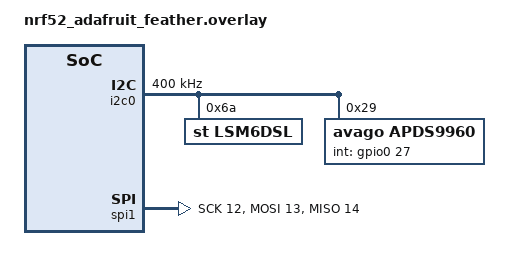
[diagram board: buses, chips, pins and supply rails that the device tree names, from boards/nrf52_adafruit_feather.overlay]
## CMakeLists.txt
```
cmake_minimum_required(VERSION 3.8.2)

set(BOARD nrf52_adafruit_feather)

# DTC overlays are per-board; each board must define a boards/$BOARD.overlay.
if(EXISTS ${CMAKE_CURRENT_SOURCE_DIR}/boards/${BOARD}.overlay)
  set(DTC_OVERLAY_FILE ${CMAKE_CURRENT_SOURCE_DIR}/boards/${BOARD}.overlay)
endif()

include($ENV{ZEPHYR_BASE}/cmake/app/boilerplate.cmake NO_POLICY_SCOPE)
project(bt_controller)

FILE(GLOB app_sources src/*.c)
target_sources(app PRIVATE 
  ${app_sources}
  $ENV{ZEPHYR_BASE}/samples/bluetooth/gatt/bas.c
  $ENV{ZEPHYR_BASE}/samples/bluetooth/gatt/dis.c
  $ENV{ZEPHYR_BASE}/samples/bluetooth/gatt/hog.c
)

zephyr_link_libraries_ifdef(CONFIG_FILE_SYSTEM_NFFS NFFS)

zephyr_library_include_directories($ENV{ZEPHYR_BASE}/samples/bluetooth)
```

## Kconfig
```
mainmenu "BT controller application"

menu "Application configuration"

module = MAIN_MODULE
module-str = Main module
source "subsys/logging/Kconfig.template.log_config"

module = IMU_MODULE
module-str = IMU module
source "subsys/logging/Kconfig.template.log_config"

module = BT_MODULE
module-str = BT module
source "subsys/logging/Kconfig.template.log_config"

endmenu

source "Kconfig.zephyr"
```

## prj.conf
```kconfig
# General Kernel Options
CONFIG_SYSTEM_WORKQUEUE_STACK_SIZE=4096
CONFIG_HEAP_MEM_POOL_SIZE=16384
#CONFIG_SMP=y

# Device Drivers
CONFIG_GPIO_SHELL=y
#CONFIG_GPIO_SEESAW=y

CONFIG_SPI=y
CONFIG_SPI_ASYNC=y
CONFIG_SPI_NRFX=y
#CONFIG_SPI_NRFX_RAM_BUFFER_SIZE=8
CONFIG_SPI_1=y
#CONFIG_SPI_1_NRF_SPIM=y
#CONFIG_SPI_1_NRF_RX_DELAY=1

CONFIG_I2C=y
CONFIG_I2C_NRFX=y
CONFIG_I2C_0=y

CONFIG_FLASH=y
CONFIG_FLASH_PAGE_LAYOUT=y

CONFIG_SENSOR=y
CONFIG_APDS9960=y
CONFIG_LSM6DSL=y
#CONFIG_LSM6DSL_SPI=y

# Bluetooth
CONFIG_BT_DEBUG_LOG=y
CONFIG_BT_PERIPHERAL=y
CONFIG_BT_DEVICE_NAME="IMU HoG mouse"
CONFIG_BT_DEVICE_APPEARANCE=962
CONFIG_BT_SMP=y
#CONFIG_BT_SHELL=y
CONFIG_BT_SETTINGS=y

# Debugging Options
CONFIG_TRACING=y
CONFIG_STACK_USAGE=y
#CONFIG_ASSERT=y
CONFIG_SEGGER_SYSTEMVIEW=y
CONFIG_RTT_CONSOLE=y

# File Systems
CONFIG_FCB=y

# Logging Options
CONFIG_LOG=y
CONFIG_LOG_RUNTIME_FILTERING=y
CONFIG_LOG_PRINTK=y

# Shell Options
CONFIG_SHELL=y
#CONFIG_KERNEL_SHELL=y
#CONFIG_DEVICE_SHELL=y

# Storage 
CONFIG_FLASH_MAP=y
CONFIG_SETTINGS=y
CONFIG_SETTINGS_FCB=y
```

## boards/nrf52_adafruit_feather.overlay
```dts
&i2c0 {
	status ="ok";
	clock-frequency = <I2C_BITRATE_FAST>;

	lsm6dsl@6a {
		compatible = "st,lsm6dsl";
		reg = <0x6a>;
		label = "LSM6DSL";
	};

	apds9960@29 {
		compatible = "avago,apds9960";
		reg = <0x29>;
		label = "APDS9960";
		int-gpios = <&gpio0 27 0>;
	};
};

&spi1 {
	status = "ok";
	sck-pin = <12>;
	mosi-pin = <13>;
	miso-pin = <14>;
	cs-gpios = <&gpio0 29 0>;
	/*
    	lsm6dsl@0 {
		compatible = "st,lsm6dsl-spi";
		reg = <0>;
		spi-max-frequency = <1000000>;
		irq-gpios = <&gpio0 28 0>;
		label = "LSM6DSL_SPI";
	};*/
};
```

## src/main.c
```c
#include <zephyr.h>
#include <device.h>
#include <gpio.h>
#include <sensor.h>

#include <logging/log.h>
#define LOG_MODULE_NAME main_module
#define LOG_LEVEL CONFIG_MAIN_MODULE_LOG_LEVEL
LOG_MODULE_REGISTER(LOG_MODULE_NAME);

struct k_delayed_work led_timer;

enum periph_device {
	DEV_IDX_LED0 = 0,
	DEV_IDX_LED1,
	DEV_IDX_BUTTON,
	DEV_IDX_APDS9960,
	DEV_IDX_NUMOF,
};

struct periph_device_info {
	struct device *dev;
	char *name;
};

static struct periph_device_info dev_info[] = {
	{NULL, LED0_GPIO_CONTROLLER},
	{NULL, LED1_GPIO_CONTROLLER},
	{NULL, SW0_GPIO_CONTROLLER},
	{NULL, CONFIG_APDS9960_DRV_NAME},
};

static void button_pressed(struct device *gpiob, struct gpio_callback *cb,
			   u32_t pins)
{
	LOG_DBG("Button pressed at %d", k_cycle_get_32());
}

static struct gpio_callback gpio_cb;

static int get_apds9960_val(struct sensor_value *val)
{
	if (sensor_sample_fetch(dev_info[DEV_IDX_APDS9960].dev)) {
		LOG_ERR("Failed to fetch sample for device %s",
		       dev_info[DEV_IDX_APDS9960].name);
		return -1;
	}
 	if (sensor_channel_get(dev_info[DEV_IDX_APDS9960].dev,
			       SENSOR_CHAN_LIGHT,
			       &val[0])) {
		return -1;
	}
 	if (sensor_channel_get(dev_info[DEV_IDX_APDS9960].dev,
			       SENSOR_CHAN_PROX,
			       &val[1])) {
		return -1;
	}
 	LOG_DBG("ambient light intensity: %d, proximity %d",
	       val[0].val1, val[1].val1);
 	return 0;
}

static void led_timeout(struct k_work *work)
{
        static int led_cntr;
        u32_t led_interval = K_MSEC(100);

        gpio_pin_write(dev_info[DEV_IDX_LED0].dev, LED0_GPIO_PIN, 1);
	gpio_pin_write(dev_info[DEV_IDX_LED1].dev, LED1_GPIO_PIN, 1);

        if (led_cntr == 0) {
		gpio_pin_write(dev_info[DEV_IDX_LED0].dev,
			       LED0_GPIO_PIN, 0);
		led_cntr += 1;
	} else if (led_cntr == 1) {
		gpio_pin_write(dev_info[DEV_IDX_LED1].dev,
			       LED1_GPIO_PIN, 0);
		led_cntr += 1;
	} else if (led_cntr == 2) {
		led_cntr = 0;
		led_interval = K_MSEC(5000);
	}

        k_delayed_work_submit(&led_timer, led_interval);
}

void main(void)
{
        struct sensor_value val[3];
        unsigned int i;
    
        LOG_INF("*** IMU Controller ***");

        for (i = 0; i < ARRAY_SIZE(dev_info); i++) {
                dev_info[i].dev = device_get_binding(dev_info[i].name);
                if (dev_info[i].dev == NULL) {
                        LOG_ERR("Failed to get %s device", dev_info[i].name);
                        return;
                }
        }

	gpio_pin_configure(dev_info[DEV_IDX_LED0].dev, LED0_GPIO_PIN,
			   GPIO_DIR_OUT);
	gpio_pin_write(dev_info[DEV_IDX_LED0].dev, LED0_GPIO_PIN, 1);

 	gpio_pin_configure(dev_info[DEV_IDX_LED1].dev, LED1_GPIO_PIN,
			   GPIO_DIR_OUT);
	gpio_pin_write(dev_info[DEV_IDX_LED1].dev, LED1_GPIO_PIN, 1);

 	gpio_pin_configure(dev_info[DEV_IDX_BUTTON].dev, SW0_GPIO_PIN,
			   GPIO_DIR_IN | GPIO_INT |  SW0_GPIO_FLAGS |
			   GPIO_INT_EDGE | GPIO_INT_ACTIVE_LOW);

 	gpio_init_callback(&gpio_cb, button_pressed, BIT(SW0_GPIO_PIN));
	gpio_add_callback(dev_info[DEV_IDX_BUTTON].dev, &gpio_cb);
	gpio_pin_enable_callback(dev_info[DEV_IDX_BUTTON].dev, SW0_GPIO_PIN);

        k_delayed_work_init(&led_timer, led_timeout);
	k_delayed_work_submit(&led_timer, K_MSEC(100));

        while (1) {
		if (get_apds9960_val(val)) {
			goto _error_get;
		}

		k_sleep(K_SECONDS(1));
	}

_error_get:
	LOG_ERR("Failed to get sensor data or print a string");
}
```

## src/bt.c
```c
#include <zephyr/types.h>
#include <stddef.h>
#include <string.h>
#include <errno.h>
#include <misc/byteorder.h>
#include <zephyr.h>

#include <settings/settings.h>

#include <bluetooth/bluetooth.h>
#include <bluetooth/hci.h>
#include <bluetooth/conn.h>
#include <bluetooth/uuid.h>
#include <bluetooth/gatt.h>

#include <gatt/dis.h>
#include <gatt/bas.h>
#include <gatt/hog.h>

#include <logging/log.h>
#define LOG_MODULE_NAME bt_module
#define LOG_LEVEL CONFIG_BT_MODULE_LOG_LEVEL
LOG_MODULE_REGISTER(LOG_MODULE_NAME);

#define BT_STACK_SIZE   2048
#define BT_PRIORITY     K_PRIO_COOP(7)

static const struct bt_data ad[] = {
	BT_DATA_BYTES(BT_DATA_FLAGS, (BT_LE_AD_GENERAL | BT_LE_AD_NO_BREDR)),
	BT_DATA_BYTES(BT_DATA_UUID16_ALL,
		      0x12, 0x18, /* HID Service */
		      0x0f, 0x18), /* Battery Service */
};

static void connected(struct bt_conn *conn, u8_t err)
{
	char addr[BT_ADDR_LE_STR_LEN];

	bt_addr_le_to_str(bt_conn_get_dst(conn), addr, sizeof(addr));

	if (err) {
		LOG_ERR("Failed to connect to %s (%u)", addr, err);
		return;
	}

	LOG_INF("Connected %s\n", addr);

	if (bt_conn_security(conn, BT_SECURITY_MEDIUM)) {
		LOG_ERR("Failed to set security");
	}
}

static void disconnected(struct bt_conn *conn, u8_t reason)
{
	char addr[BT_ADDR_LE_STR_LEN];

	bt_addr_le_to_str(bt_conn_get_dst(conn), addr, sizeof(addr));

	LOG_INF("Disconnected from %s (reason %u)", addr, reason);
}

static void security_changed(struct bt_conn *conn, bt_security_t level)
{
	char addr[BT_ADDR_LE_STR_LEN];

	bt_addr_le_to_str(bt_conn_get_dst(conn), addr, sizeof(addr));

	LOG_INF("Security changed: %s level %u", addr, level);
}

static struct bt_conn_cb conn_callbacks = {
	.connected = connected,
	.disconnected = disconnected,
	.security_changed = security_changed,
};

static void bt_ready(int err)
{
	if (err) {
		LOG_ERR("Bluetooth init failed (err %d)", err);
		return;
	}

	LOG_INF("Bluetooth initialised");

	bas_init();
	dis_init(CONFIG_SOC, "Oxsight");
	hog_init();

	if (IS_ENABLED(CONFIG_SETTINGS)) {
		settings_load();
	}

	err = bt_le_adv_start(BT_LE_ADV_CONN_NAME, ad, ARRAY_SIZE(ad), NULL, 0);
	if (err) {
		LOG_ERR("Advertising failed to start (err %d)", err);
		return;
	}

	LOG_INF("Advertising successfully started");
}

static void auth_passkey_display(struct bt_conn *conn, unsigned int passkey)
{
	char addr[BT_ADDR_LE_STR_LEN];

	bt_addr_le_to_str(bt_conn_get_dst(conn), addr, sizeof(addr));

	LOG_INF("Passkey for %s: %06u", addr, passkey);
}

static void auth_cancel(struct bt_conn *conn)
{
	char addr[BT_ADDR_LE_STR_LEN];

	bt_addr_le_to_str(bt_conn_get_dst(conn), addr, sizeof(addr));

	LOG_WRN("Pairing cancelled: %s", addr);
}

static struct bt_conn_auth_cb auth_cb_display = {
	.passkey_display = auth_passkey_display,
	.passkey_entry = NULL,
	.cancel = auth_cancel,
};

void bt_thread(void)
{
        int err;

        LOG_INF("Bluetooth task started");

        err = bt_enable(bt_ready);
        if (err) {
		LOG_ERR("Bluetooth init failed (err %d)", err);
		return;
	}

	bt_conn_cb_register(&conn_callbacks);
        bt_conn_auth_cb_register(&auth_cb_display);
}

K_THREAD_DEFINE(bt_id, BT_STACK_SIZE, bt_thread, NULL, NULL, NULL,
		BT_PRIORITY, 0, K_NO_WAIT);
```

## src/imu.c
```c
#include <zephyr.h>
#include <board.h>
#include <sensor.h>

#include <logging/log.h>
#define LOG_MODULE_NAME imu_module
#define LOG_LEVEL CONFIG_IMU_MODULE_LOG_LEVEL
LOG_MODULE_REGISTER(LOG_MODULE_NAME);

#define IMU_STACK_SIZE 1024
#define IMU_PRIORITY 7

static inline float out_ev(struct sensor_value *val)
{
	return (val->val1 + (float)val->val2 / 1000000);
}

#ifdef CONFIG_LSM6DSL_TRIGGER
static void lsm6dsl_trigger_handler(struct device *dev,
				    struct sensor_trigger *trig)
{
        struct sensor_value accel_x, accel_y, accel_z;
	struct sensor_value gyro_x, gyro_y, gyro_z;

        sensor_sample_fetch_chan(dev, SENSOR_CHAN_ACCEL_XYZ);
	sensor_channel_get(dev, SENSOR_CHAN_ACCEL_X, &accel_x);
	sensor_channel_get(dev, SENSOR_CHAN_ACCEL_Y, &accel_y);
	sensor_channel_get(dev, SENSOR_CHAN_ACCEL_Z, &accel_z);

        sensor_sample_fetch_chan(dev, SENSOR_CHAN_GYRO_XYZ);
	sensor_channel_get(dev, SENSOR_CHAN_GYRO_X, &gyro_x);
	sensor_channel_get(dev, SENSOR_CHAN_GYRO_Y, &gyro_y);
	sensor_channel_get(dev, SENSOR_CHAN_GYRO_Z, &gyro_z);

        LOG_DBG("TRIG");
}
#endif

void imu_thread(void)
{
        static struct device *imu;

        LOG_INF("IMU Task Started");

	imu = device_get_binding(CONFIG_LSM6DSL_DEV_NAME);
	if (!imu) {
		LOG_ERR("Could not get pointer to %s sensor", CONFIG_LSM6DSL_DEV_NAME);
		return;
	};

#if defined(CONFIG_LSM6DSL_ACCEL_ODR) && (CONFIG_LSM6DSL_ACCEL_ODR == 0)
	struct sensor_value a_odr_attr;

	/* set sampling frequency to 104Hz for accel */
	a_odr_attr.val1 = 104;
	a_odr_attr.val2 = 0;

	if (sensor_attr_set(imu, SENSOR_CHAN_ACCEL_XYZ,
			    SENSOR_ATTR_SAMPLING_FREQUENCY, &a_odr_attr) < 0) {
		LOG_ERR("Cannot set sampling frequency for accelerometer.");
		return;
	}
#endif

#if defined(CONFIG_LSM6DSL_ACCEL_FS) && (CONFIG_LSM6DSL_ACCEL_FS == 0)
	struct sensor_value a_fs_attr;

	/* set full scale to 16g for accel */
	sensor_g_to_ms2(16, &a_fs_attr);

	if (sensor_attr_set(imu, SENSOR_CHAN_ACCEL_XYZ,
			    SENSOR_ATTR_FULL_SCALE, &a_fs_attr) < 0) {
		LOG_ERR("Cannot set fs for accelerometer.");
		return;
	}
#endif

#if defined(CONFIG_LSM6DSL_GYRO_ODR) && (CONFIG_LSM6DSL_GYRO_ODR == 0)
	struct sensor_value g_odr_attr;

	/* set sampling frequency to 104Hz for accel */
	g_odr_attr.val1 = 104;
	g_odr_attr.val2 = 0;

	if (sensor_attr_set(imu, SENSOR_CHAN_GYRO_XYZ,
			    SENSOR_ATTR_SAMPLING_FREQUENCY, &g_odr_attr) < 0) {
		LOG_ERR("Cannot set sampling frequency for gyro.");
		return;
	}
#endif

#if defined(CONFIG_LSM6DSL_GYRO_FS) && (CONFIG_LSM6DSL_GYRO_FS == 0)
	struct sensor_value g_fs_attr;

	/* set full scale to 245dps for accel */
	sensor_g_to_ms2(245, &g_fs_attr);

	if (sensor_attr_set(imu, SENSOR_CHAN_GYRO_XYZ,
			    SENSOR_ATTR_FULL_SCALE, &g_fs_attr) < 0) {
		LOG_ERR("Cannot set fs for gyroscope.");
		return;
	}
#endif

#ifdef CONFIG_LSM6DSL_TRIGGER
	struct sensor_trigger trig;

	trig.type = SENSOR_TRIG_DATA_READY;
	trig.chan = SENSOR_CHAN_ACCEL_XYZ;
	sensor_trigger_set(imu, &trig, lsm6dsl_trigger_handler);
#endif

    while (1) {
        struct sensor_value accel_x, accel_y, accel_z;
        struct sensor_value gyro_x, gyro_y, gyro_z;

        /* lsm6dsl accel */
        sensor_sample_fetch_chan(imu, SENSOR_CHAN_ACCEL_XYZ);
        sensor_channel_get(imu, SENSOR_CHAN_ACCEL_X, &accel_x);
        sensor_channel_get(imu, SENSOR_CHAN_ACCEL_Y, &accel_y);
        sensor_channel_get(imu, SENSOR_CHAN_ACCEL_Z, &accel_z);
        

        /* lsm6dsl gyro */
        sensor_sample_fetch_chan(imu, SENSOR_CHAN_GYRO_XYZ);
        sensor_channel_get(imu, SENSOR_CHAN_GYRO_X, &gyro_x);
        sensor_channel_get(imu, SENSOR_CHAN_GYRO_Y, &gyro_y);
        sensor_channel_get(imu, SENSOR_CHAN_GYRO_Z, &gyro_z);
        LOG_INF("accel (%f %f %f) m/s2 gyro (%f %f %f) dps", 
                out_ev(&accel_x), out_ev(&accel_y), out_ev(&accel_z),
                out_ev(&gyro_x), out_ev(&gyro_y), out_ev(&gyro_z));

        k_sleep(2000);
    }
}

K_THREAD_DEFINE(imu_id, IMU_STACK_SIZE, imu_thread, NULL, NULL, NULL,
		IMU_PRIORITY, 0, K_NO_WAIT);
```
